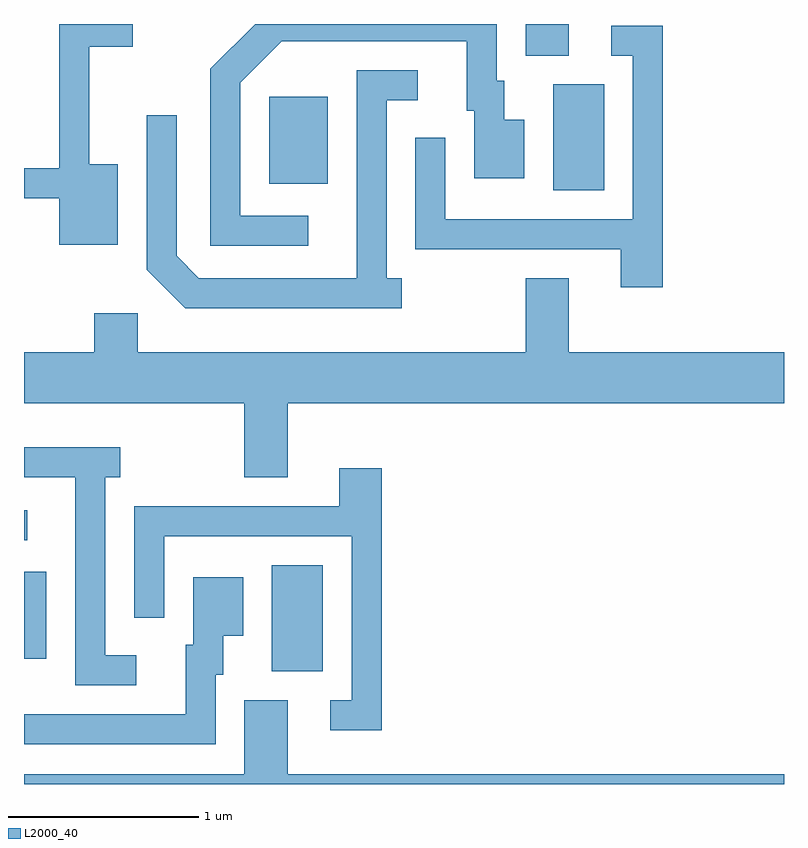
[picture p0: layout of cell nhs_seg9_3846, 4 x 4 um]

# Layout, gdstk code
import gdstk
lib = gdstk.Library(unit=1e-6, precision=1e-09)
def R(c, l, rs):  # rectangles x0, y0, x1, y1
    for r in rs: c.add(gdstk.rectangle(r[:2], r[2:], *l))
def P(c, l, *ps):  # polygons
    for p in ps: c.add(gdstk.Polygon(p, *l))
L2000_40 = (2000, 40)

nhs_seg9_3846 = lib.new_cell('nhs_seg9_3846')
R(nhs_seg9_3846, L2000_40, [(298.916,2037.026,299.184,2037.584), (297.611,2037.091,297.729,2037.549), (297.611,2037.716,297.628,2037.874), (300.396,2039.556,300.664,2040.114), (298.901,2039.591,299.209,2040.049), (300.251,2040.266,300.479,2040.432)])
P(nhs_seg9_3846, L2000_40, [(298.104,2039.694),(297.954,2039.694),(297.954,2040.311),(298.183,2040.311),(298.183,2040.432),(297.796,2040.432),(297.796,2039.674),(297.611,2039.674),(297.611,2039.516),(297.796,2039.516),(297.796,2039.271),(298.104,2039.271)],
  [(299.108,2039.424),(298.749,2039.424),(298.749,2040.124),(298.967,2040.341),(299.941,2040.341),(299.941,2039.976),(299.981,2039.976),(299.981,2039.621),(300.244,2039.621),(300.244,2039.929),(300.139,2039.929),(300.139,2040.134),(300.099,2040.134),(300.099,2040.432),(298.827,2040.432),(298.591,2040.197),(298.591,2039.266),(299.108,2039.266)],
  [(300.974,2040.424),(300.703,2040.424),(300.703,2040.266),(300.816,2040.266),(300.816,2039.404),(299.829,2039.404),(299.829,2039.833),(299.671,2039.833),(299.671,2039.246),(300.751,2039.246),(300.751,2039.046),(300.974,2039.046)],
  [(299.598,2039.094),(299.519,2039.094),(299.519,2040.031),(299.683,2040.031),(299.683,2040.189),(299.361,2040.189),(299.361,2039.094),(298.532,2039.094),(298.414,2039.212),(298.414,2039.953),(298.256,2039.953),(298.256,2039.139),(298.459,2038.936),(299.598,2038.936)],
  [(298.999,2038.436),(301.611,2038.436),(301.611,2038.704),(300.479,2038.704),(300.479,2039.094),(300.251,2039.094),(300.251,2038.704),(298.209,2038.704),(298.209,2038.909),(297.981,2038.909),(297.981,2038.704),(297.611,2038.704),(297.611,2038.436),(298.771,2038.436),(298.771,2038.046),(298.999,2038.046)],
  [(298.203,2037.109),(298.039,2037.109),(298.039,2038.046),(298.118,2038.046),(298.118,2038.204),(297.611,2038.204),(297.611,2038.046),(297.881,2038.046),(297.881,2036.951),(298.203,2036.951)],
  [(299.494,2038.094),(299.271,2038.094),(299.271,2037.894),(298.191,2037.894),(298.191,2037.308),(298.349,2037.308),(298.349,2037.736),(299.336,2037.736),(299.336,2036.874),(299.223,2036.874),(299.223,2036.716),(299.494,2036.716)],
  [(298.619,2037.006),(298.659,2037.006),(298.659,2037.211),(298.764,2037.211),(298.764,2037.519),(298.501,2037.519),(298.501,2037.164),(298.461,2037.164),(298.461,2036.799),(297.611,2036.799),(297.611,2036.641),(298.619,2036.641)],
  [(301.611,2036.484),(298.999,2036.484),(298.999,2036.874),(298.771,2036.874),(298.771,2036.484),(297.611,2036.484),(297.611,2036.432),(301.611,2036.432)])

lib.write_gds('nhs_seg9_3846.gds')
